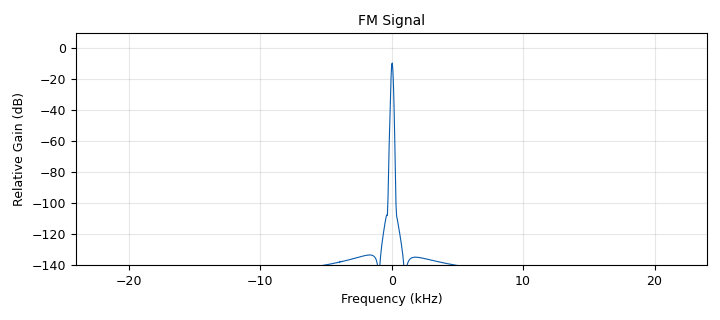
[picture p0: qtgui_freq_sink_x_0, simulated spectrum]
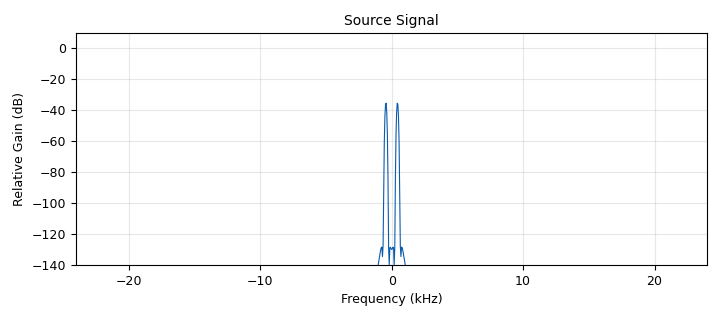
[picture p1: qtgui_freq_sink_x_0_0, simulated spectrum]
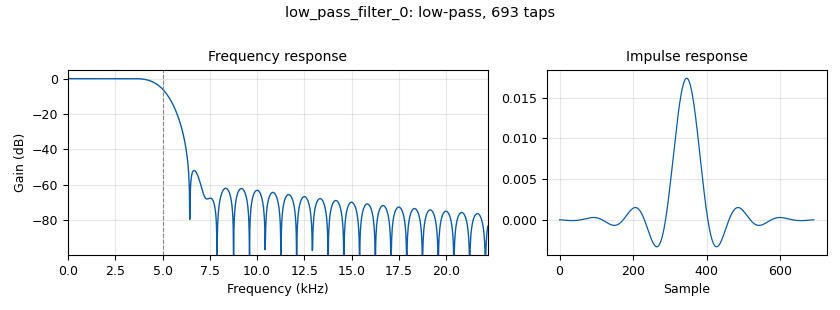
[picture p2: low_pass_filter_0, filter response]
options:
  parameters:
    author: cci
    generate_options: qt_gui
    id: FM_Transmit
    output_language: python
    title: FM Transmit Recieve
  states: {}

blocks:
- name: freq
  id: variable_qtgui_range
  parameters:
    start: '0'
    step: '1000'
    stop: '100000'
    value: '440'
  states: {}
- name: gain
  id: variable_qtgui_range
  parameters:
    start: '0'
    step: '0.1'
    stop: '5'
    value: '0.1'
  states: {}
- name: samp_rate
  id: variable
  parameters:
    value: '48000'
  states: {}
- name: analog_nbfm_tx_0
  id: analog_nbfm_tx
  parameters:
    audio_rate: samp_rate
    fh: '-1.0'
    max_dev: 5e3
    quad_rate: int(samp_rate*12)
    tau: '75e-6'
  states: {}
- name: analog_sig_source_x_0_0
  id: analog_sig_source_x
  parameters:
    amp: '1'
    freq: freq
    offset: '0'
    phase: '0'
    samp_rate: samp_rate
    type: float
    waveform: analog.GR_COS_WAVE
  states: {}
- name: blocks_multiply_const_vxx_0
  id: blocks_multiply_const_vxx
  parameters:
    const: gain
    type: float
  states: {}
- name: blocks_throttle2_0
  id: blocks_throttle2
  parameters:
    samples_per_second: samp_rate
    type: float
  states: {}
- name: low_pass_filter_0
  id: low_pass_filter
  parameters:
    cutoff_freq: '5000'
    decim: '1'
    gain: '1'
    samp_rate: samp_rate*12
    type: fir_filter_ccf
    width: '2000'
    win: window.WIN_HAMMING
  states: {}
- name: qtgui_freq_sink_x_0
  id: qtgui_freq_sink_x
  parameters:
    bw: samp_rate
    fc: '0'
    fftsize: '1024'
    name: '"FM Signal"'
    type: complex
  states: {}
- name: qtgui_freq_sink_x_0_0
  id: qtgui_freq_sink_x
  parameters:
    bw: samp_rate
    fc: '0'
    fftsize: '1024'
    name: '"Source Signal"'
    type: float
  states: {}

connections:
- [analog_nbfm_tx_0, '0', low_pass_filter_0, '0']
- [analog_sig_source_x_0_0, '0', blocks_multiply_const_vxx_0, '0']
- [blocks_multiply_const_vxx_0, '0', blocks_throttle2_0, '0']
- [blocks_throttle2_0, '0', analog_nbfm_tx_0, '0']
- [blocks_throttle2_0, '0', qtgui_freq_sink_x_0_0, '0']
- [low_pass_filter_0, '0', qtgui_freq_sink_x_0, '0']

metadata:
  file_format: 1
  grc_version: 3.10.9.2
